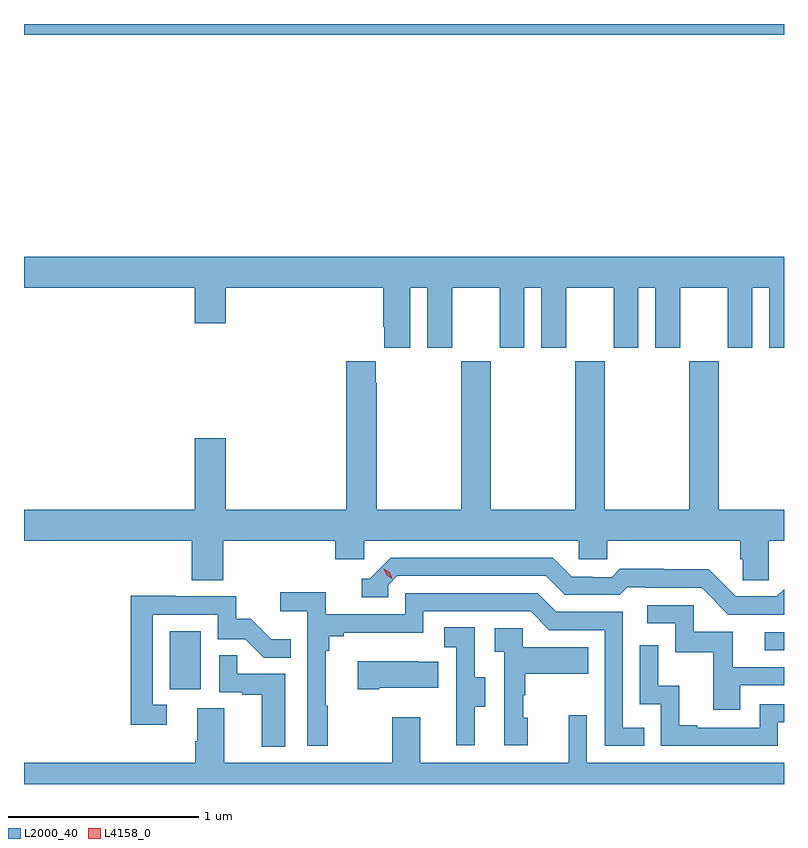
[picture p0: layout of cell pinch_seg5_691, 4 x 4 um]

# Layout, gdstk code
import gdstk
lib = gdstk.Library(unit=1e-6, precision=1e-09)
def R(c, l, rs):  # rectangles x0, y0, x1, y1
    for r in rs: c.add(gdstk.rectangle(r[:2], r[2:], *l))
def P(c, l, *ps):  # polygons
    for p in ps: c.add(gdstk.Polygon(p, *l))
L2000_40 = (2000, 40)
L4158_0 = (4158, 0)

pinch_seg5_691 = lib.new_cell('pinch_seg5_691')
R(pinch_seg5_691, L2000_40, [(1141.898,833.334,1142.062,833.641), (1145.031,833.541,1145.132,833.634), (1141.132,836.78,1145.132,836.836)])
P(pinch_seg5_691, L2000_40, [(1143.166,835.448),(1143.254,835.448),(1143.254,835.131),(1143.385,835.131),(1143.385,835.448),(1143.635,835.448),(1143.635,835.131),(1143.766,835.131),(1143.766,835.448),(1143.854,835.448),(1143.854,835.131),(1143.985,835.131),(1143.985,835.448),(1144.235,835.448),(1144.235,835.131),(1144.366,835.131),(1144.366,835.448),(1144.454,835.448),(1144.454,835.131),(1144.585,835.131),(1144.585,835.448),(1144.835,835.448),(1144.835,835.131),(1144.966,835.131),(1144.966,835.448),(1145.054,835.448),(1145.054,835.131),(1145.132,835.131),(1145.132,835.612),(1141.132,835.612),(1141.132,835.448),(1142.03,835.448),(1142.03,835.26),(1142.194,835.26),(1142.194,835.448),(1143.023,835.448),(1143.023,835.243),(1143.029,835.243),(1143.029,835.131),(1143.166,835.131)],
  [(1142.18,834.116),(1142.771,834.116),(1142.771,834.018),(1142.922,834.018),(1142.922,834.116),(1144.053,834.116),(1144.053,834.018),(1144.203,834.018),(1144.203,834.116),(1144.901,834.116),(1144.901,834.018),(1144.915,834.018),(1144.915,833.908),(1145.052,833.908),(1145.052,834.116),(1145.132,834.116),(1145.132,834.28),(1144.788,834.28),(1144.788,835.06),(1144.633,835.06),(1144.633,834.28),(1144.188,834.28),(1144.188,835.06),(1144.033,835.06),(1144.033,834.28),(1143.588,834.28),(1143.588,835.06),(1143.433,835.06),(1143.433,834.28),(1142.988,834.28),(1142.988,834.947),(1142.983,834.947),(1142.983,835.06),(1142.828,835.06),(1142.828,834.28),(1142.194,834.28),(1142.194,834.655),(1142.03,834.655),(1142.03,834.28),(1141.132,834.28),(1141.132,834.116),(1142.015,834.116),(1142.015,833.908),(1142.18,833.908)],
  [(1145.132,833.861),(1145.094,833.823),(1144.878,833.823),(1144.736,833.965),(1144.5,833.965),(1144.5,833.968),(1144.267,833.968),(1144.225,833.925),(1144.122,833.925),(1144.122,833.928),(1144.015,833.928),(1143.916,834.027),(1143.063,834.027),(1142.952,833.916),(1142.909,833.916),(1142.909,833.82),(1143.048,833.82),(1143.048,833.883),(1143.096,833.931),(1143.879,833.931),(1143.978,833.832),(1144.267,833.832),(1144.306,833.871),(1144.405,833.871),(1144.405,833.868),(1144.698,833.868),(1144.839,833.727),(1145.132,833.727)],
  [(1142.731,833.249),(1142.719,833.249),(1142.719,833.537),(1142.738,833.537),(1142.738,833.614),(1142.815,833.614),(1142.815,833.633),(1143.234,833.633),(1143.234,833.745),(1143.798,833.745),(1143.897,833.646),(1144.188,833.646),(1144.188,833.037),(1144.397,833.037),(1144.397,833.133),(1144.284,833.133),(1144.284,833.742),(1143.934,833.742),(1143.835,833.841),(1143.138,833.841),(1143.138,833.73),(1142.72,833.73),(1142.72,833.846),(1142.481,833.846),(1142.481,833.744),(1142.622,833.744),(1142.622,833.037),(1142.731,833.037)],
  [(1141.882,833.253),(1141.809,833.253),(1141.809,833.727),(1142.151,833.727),(1142.151,833.598),(1142.296,833.598),(1142.394,833.5),(1142.537,833.5),(1142.537,833.599),(1142.433,833.599),(1142.326,833.706),(1142.25,833.706),(1142.25,833.823),(1141.931,833.823),(1141.931,833.828),(1141.693,833.828),(1141.693,833.148),(1141.882,833.148)],
  [(1144.903,833.355),(1145.132,833.355),(1145.132,833.451),(1144.861,833.451),(1144.861,833.637),(1144.656,833.637),(1144.656,833.778),(1144.413,833.778),(1144.413,833.682),(1144.56,833.682),(1144.56,833.529),(1144.759,833.529),(1144.759,833.226),(1144.903,833.226)],
  [(1143.505,833.242),(1143.559,833.242),(1143.559,833.397),(1143.504,833.397),(1143.504,833.66),(1143.345,833.66),(1143.345,833.557),(1143.408,833.557),(1143.408,833.253),(1143.407,833.253),(1143.407,833.04),(1143.505,833.04)],
  [(1143.784,833.184),(1143.759,833.184),(1143.759,833.303),(1143.769,833.303),(1143.769,833.417),(1144.103,833.417),(1144.103,833.557),(1143.756,833.557),(1143.756,833.655),(1143.609,833.655),(1143.609,833.531),(1143.66,833.531),(1143.66,833.04),(1143.784,833.04)],
  [(1145.1,833.16),(1145.132,833.16),(1145.132,833.256),(1145.004,833.256),(1145.004,833.133),(1144.675,833.133),(1144.675,833.146),(1144.58,833.146),(1144.58,833.354),(1144.47,833.354),(1144.47,833.566),(1144.374,833.566),(1144.374,833.256),(1144.482,833.256),(1144.482,833.037),(1145.1,833.037)],
  [(1142.506,833.415),(1142.255,833.415),(1142.255,833.513),(1142.16,833.513),(1142.16,833.319),(1142.281,833.319),(1142.281,833.307),(1142.384,833.307),(1142.384,833.033),(1142.506,833.033)],
  [(1143.001,833.342),(1143.311,833.342),(1143.311,833.479),(1143.203,833.479),(1143.203,833.482),(1142.889,833.482),(1142.889,833.335),(1143.001,833.335)],
  [(1145.132,832.948),(1144.095,832.948),(1144.095,833.197),(1143.998,833.197),(1143.998,832.948),(1143.217,832.948),(1143.217,833.188),(1143.07,833.188),(1143.07,832.948),(1142.185,832.948),(1142.185,833.234),(1142.045,833.234),(1142.045,833.06),(1142.033,833.06),(1142.033,832.948),(1141.132,832.948),(1141.132,832.836),(1145.132,832.836)])
P(pinch_seg5_691, L4158_0, [(1143.071,833.917),(1143.041,833.936),(1143.025,833.969),(1143.025,833.969),(1143.025,833.969),(1143.056,833.95),(1143.071,833.917),(1143.071,833.917)])

lib.write_gds('pinch_seg5_691.gds')
